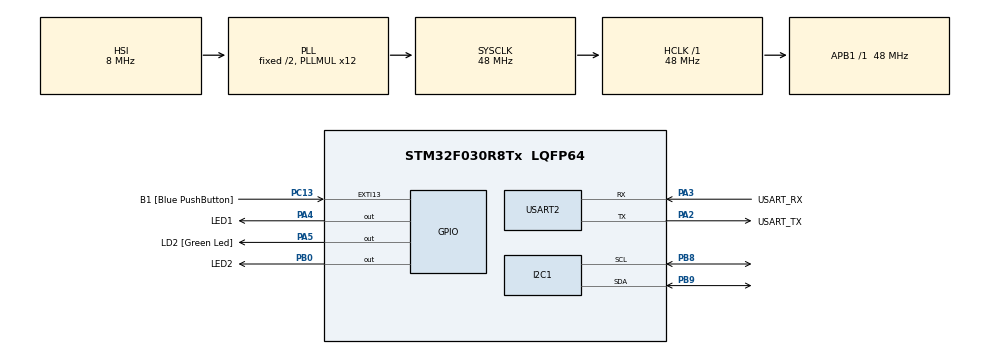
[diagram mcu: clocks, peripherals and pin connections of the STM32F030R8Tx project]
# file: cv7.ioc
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FREERTOS.Queues01=xVisualQueue,16,uint16_t,0,Dynamic,NULL,NULL
FREERTOS.Tasks01=defaultTask,0,128,StartDefaultTask,Default,NULL,Dynamic,NULL,NULL;VisualTask,-3,128,StartVisualTask,Default,NULL,Dynamic,NULL,NULL;AcceleroTask,-3,128,StartAcceleroTask,Default,NULL,Dynamic,NULL,NULL
FREERTOS.configUSE_NEWLIB_REENTRANT=1
Mcu.Family=STM32F0
Mcu.Name=STM32F030R8Tx
Mcu.Package=LQFP64
NVIC.TIM14_IRQn=true\:3\:0\:false\:false\:true\:false\:false\:true
NVIC.TimeBase=TIM14_IRQn
NVIC.TimeBaseIP=TIM14
PA13.GPIO_Label=TMS
PA13.Mode=Serial_Wire
PA13.Signal=SYS_SWDIO
PA14.GPIO_Label=TCK
PA14.Mode=Serial_Wire
PA14.Signal=SYS_SWCLK
PA2.GPIO_Label=USART_TX
PA2.GPIO_Mode=GPIO_MODE_AF_PP
PA2.GPIO_PuPd=GPIO_NOPULL
PA2.GPIO_Speed=GPIO_SPEED_FREQ_LOW
PA2.Mode=Asynchronous
PA2.Signal=USART2_TX
PA3.GPIO_Label=USART_RX
PA3.GPIO_Mode=GPIO_MODE_AF_PP
PA3.GPIO_PuPd=GPIO_NOPULL
PA3.GPIO_Speed=GPIO_SPEED_FREQ_LOW
PA3.Mode=Asynchronous
PA3.Signal=USART2_RX
PA4.GPIO_Label=LED1
PA4.GPIO_ModeDefaultOutputPP=GPIO_MODE_OUTPUT_PP
PA4.Signal=GPIO_Output
PA5.GPIO_Label=LD2 [Green Led]
PA5.GPIO_Mode=GPIO_MODE_OUTPUT_PP
PA5.GPIO_PuPd=GPIO_NOPULL
PA5.GPIO_Speed=GPIO_SPEED_FREQ_LOW
PA5.Signal=GPIO_Output
PB0.GPIO_Label=LED2
PB0.GPIO_ModeDefaultOutputPP=GPIO_MODE_OUTPUT_PP
PB0.Signal=GPIO_Output
PB8.Mode=I2C
PB8.Signal=I2C1_SCL
PB9.Mode=I2C
PB9.Signal=I2C1_SDA
PC13.GPIO_Label=B1 [Blue PushButton]
PC13.GPIO_ModeDefaultEXTI=GPIO_MODE_IT_FALLING
PC13.Signal=GPXTI13
PC14-OSC32_IN.Mode=LSE-External-Oscillator
PC14-OSC32_IN.Signal=RCC_OSC32_IN
PC15-OSC32_OUT.Mode=LSE-External-Oscillator
PC15-OSC32_OUT.Signal=RCC_OSC32_OUT
PF0-OSC_IN.Mode=HSE-External-Clock-Source
PF0-OSC_IN.Signal=RCC_OSC_IN
PF1-OSC_OUT.Signal=RCC_OSC_OUT
ProjectManager.HeapSize=0x200
ProjectManager.StackSize=0x400
ProjectManager.TargetToolchain=STM32CubeIDE
RCC.AHBFreq_Value=48000000
RCC.APB1Freq_Value=48000000
RCC.APB1TimFreq_Value=48000000
RCC.HCLKFreq_Value=48000000
RCC.PLLMUL=RCC_PLL_MUL12
RCC.SYSCLKFreq_VALUE=48000000
RCC.SYSCLKSource=RCC_SYSCLKSOURCE_PLLCLK
USART2.VirtualMode-Asynchronous=VM_ASYNC
VP_FREERTOS_VS_CMSIS_V1.Mode=CMSIS_V1
VP_SYS_VS_tim14.Mode=TIM14
board=NUCLEO-F030R8

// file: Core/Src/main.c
/* USER CODE BEGIN Header */
/**
  ******************************************************************************
  * @file           : main.c
  * @brief          : Main program body
  ******************************************************************************
  * @attention
  *
  * <h2><center>&copy; Copyright (c) 2021 STMicroelectronics.
  * All rights reserved.</center></h2>
  *
  * This software component is licensed by ST under BSD 3-Clause license,
  * the "License"; You may not use this file except in compliance with the
  * License. You may obtain a copy of the License at:
  *                        opensource.org/licenses/BSD-3-Clause
  *
  ******************************************************************************
  */
/* USER CODE END Header */
#include "main.h"
#include "cmsis_os.h"

/* USER CODE BEGIN Includes */

#include "lis2dw12_reg.h"
#include <stdio.h>

/* USER CODE END Includes */

I2C_HandleTypeDef hi2c1;

UART_HandleTypeDef huart2;

osThreadId defaultTaskHandle;
osThreadId VisualTaskHandle;
osThreadId AcceleroTaskHandle;
osMessageQId xVisualQueueHandle;

void SystemClock_Config(void);
static void MX_GPIO_Init(void);
static void MX_USART2_UART_Init(void);
static void MX_I2C1_Init(void);
void StartDefaultTask(void const * argument);
void StartVisualTask(void const * argument);
void StartAcceleroTask(void const * argument);

/* USER CODE BEGIN PFP */
static int32_t platform_write(void *handle, uint8_t reg, const uint8_t *bufp, uint16_t len);
static int32_t platform_read(void *handle, uint8_t reg, uint8_t *bufp, uint16_t len);
static stmdev_ctx_t lis2dw12 = {
 .write_reg = platform_write,
 .read_reg = platform_read,
 .handle = &hi2c1,
};

static int32_t platform_write(void *handle, uint8_t reg, const uint8_t *bufp, uint16_t len)
{
 HAL_I2C_Mem_Write(handle, LIS2DW12_I2C_ADD_H, reg, I2C_MEMADD_SIZE_8BIT, (uint8_t *)bufp, len, 1000);
 return 0;
}

static int32_t platform_read(void *handle, uint8_t reg, uint8_t *bufp, uint16_t len)
{
 HAL_I2C_Mem_Read(handle, LIS2DW12_I2C_ADD_H, reg, I2C_MEMADD_SIZE_8BIT, bufp, len, 1000);
 return 0;
}

int _write(int file, char const *buf, int n) // definice funkce write
{
 /* stdout redirection to UART2 */
 HAL_UART_Transmit(&huart2, (uint8_t*)(buf), n, HAL_MAX_DELAY);
 return n;
}

/* USER CODE END PFP */

int main(void)
{

  /* MCU Configuration--------------------------------------------------------*/

  /* Reset of all peripherals, Initializes the Flash interface and the Systick. */
  HAL_Init();

  /* Configure the system clock */
  SystemClock_Config();

  /* Initialize all configured peripherals */
  MX_GPIO_Init();
  MX_USART2_UART_Init();
  MX_I2C1_Init();

  /* Create the queue(s) */
  /* definition and creation of xVisualQueue */
  osMessageQDef(xVisualQueue, 16, uint16_t);
  xVisualQueueHandle = osMessageCreate(osMessageQ(xVisualQueue), NULL);

  /* Create the thread(s) */
  /* definition and creation of defaultTask */
  osThreadDef(defaultTask, StartDefaultTask, osPriorityNormal, 0, 128);
  defaultTaskHandle = osThreadCreate(osThread(defaultTask), NULL);

  /* definition and creation of VisualTask */
  osThreadDef(VisualTask, StartVisualTask, osPriorityIdle, 0, 128);
  VisualTaskHandle = osThreadCreate(osThread(VisualTask), NULL);

  /* definition and creation of AcceleroTask */
  osThreadDef(AcceleroTask, StartAcceleroTask, osPriorityIdle, 0, 128);
  AcceleroTaskHandle = osThreadCreate(osThread(AcceleroTask), NULL);

  /* Start scheduler */
  osKernelStart();

  /* We should never get here as control is now taken by the scheduler */
  /* Infinite loop */
  while (1)
  {

  }
}

void SystemClock_Config(void)
{
  RCC_OscInitTypeDef RCC_OscInitStruct = {0};
  RCC_ClkInitTypeDef RCC_ClkInitStruct = {0};
  RCC_PeriphCLKInitTypeDef PeriphClkInit = {0};

  /** Initializes the RCC Oscillators according to the specified parameters
  * in the RCC_OscInitTypeDef structure.
  */
  RCC_OscInitStruct.OscillatorType = RCC_OSCILLATORTYPE_HSI;
  RCC_OscInitStruct.HSIState = RCC_HSI_ON;
  RCC_OscInitStruct.HSICalibrationValue = RCC_HSICALIBRATION_DEFAULT;
  RCC_OscInitStruct.PLL.PLLState = RCC_PLL_ON;
  RCC_OscInitStruct.PLL.PLLSource = RCC_PLLSOURCE_HSI;
  RCC_OscInitStruct.PLL.PLLMUL = RCC_PLL_MUL12;
  RCC_OscInitStruct.PLL.PREDIV = RCC_PREDIV_DIV1;
  if (HAL_RCC_OscConfig(&RCC_OscInitStruct) != HAL_OK)
  {
    Error_Handler();
  }
  /** Initializes the CPU, AHB and APB buses clocks
  */
  RCC_ClkInitStruct.ClockType = RCC_CLOCKTYPE_HCLK|RCC_CLOCKTYPE_SYSCLK
                              |RCC_CLOCKTYPE_PCLK1;
  RCC_ClkInitStruct.SYSCLKSource = RCC_SYSCLKSOURCE_PLLCLK;
  RCC_ClkInitStruct.AHBCLKDivider = RCC_SYSCLK_DIV1;
  RCC_ClkInitStruct.APB1CLKDivider = RCC_HCLK_DIV1;

  if (HAL_RCC_ClockConfig(&RCC_ClkInitStruct, FLASH_LATENCY_1) != HAL_OK)
  {
    Error_Handler();
  }
  PeriphClkInit.PeriphClockSelection = RCC_PERIPHCLK_I2C1;
  PeriphClkInit.I2c1ClockSelection = RCC_I2C1CLKSOURCE_HSI;
  if (HAL_RCCEx_PeriphCLKConfig(&PeriphClkInit) != HAL_OK)
  {
    Error_Handler();
  }
}

static void MX_I2C1_Init(void)
{

  hi2c1.Instance = I2C1;
  hi2c1.Init.Timing = 0x2000090E;
  hi2c1.Init.OwnAddress1 = 0;
  hi2c1.Init.AddressingMode = I2C_ADDRESSINGMODE_7BIT;
  hi2c1.Init.DualAddressMode = I2C_DUALADDRESS_DISABLE;
  hi2c1.Init.OwnAddress2 = 0;
  hi2c1.Init.OwnAddress2Masks = I2C_OA2_NOMASK;
  hi2c1.Init.GeneralCallMode = I2C_GENERALCALL_DISABLE;
  hi2c1.Init.NoStretchMode = I2C_NOSTRETCH_DISABLE;
  if (HAL_I2C_Init(&hi2c1) != HAL_OK)
  {
    Error_Handler();
  }
  /** Configure Analogue filter
  */
  if (HAL_I2CEx_ConfigAnalogFilter(&hi2c1, I2C_ANALOGFILTER_ENABLE) != HAL_OK)
  {
    Error_Handler();
  }
  /** Configure Digital filter
  */
  if (HAL_I2CEx_ConfigDigitalFilter(&hi2c1, 0) != HAL_OK)
  {
    Error_Handler();
  }

}

static void MX_USART2_UART_Init(void)
{

  huart2.Instance = USART2;
  huart2.Init.BaudRate = 38400;
  huart2.Init.WordLength = UART_WORDLENGTH_8B;
  huart2.Init.StopBits = UART_STOPBITS_1;
  huart2.Init.Parity = UART_PARITY_NONE;
  huart2.Init.Mode = UART_MODE_TX_RX;
  huart2.Init.HwFlowCtl = UART_HWCONTROL_NONE;
  huart2.Init.OverSampling = UART_OVERSAMPLING_16;
  huart2.Init.OneBitSampling = UART_ONE_BIT_SAMPLE_DISABLE;
  huart2.AdvancedInit.AdvFeatureInit = UART_ADVFEATURE_NO_INIT;
  if (HAL_UART_Init(&huart2) != HAL_OK)
  {
    Error_Handler();
  }

}

static void MX_GPIO_Init(void)
{
  GPIO_InitTypeDef GPIO_InitStruct = {0};

  /* GPIO Ports Clock Enable */
  __HAL_RCC_GPIOC_CLK_ENABLE();
  __HAL_RCC_GPIOF_CLK_ENABLE();
  __HAL_RCC_GPIOA_CLK_ENABLE();
  __HAL_RCC_GPIOB_CLK_ENABLE();

  /*Configure GPIO pin Output Level */
  HAL_GPIO_WritePin(GPIOA, LED1_Pin|LD2_Pin, GPIO_PIN_RESET);

  /*Configure GPIO pin Output Level */
  HAL_GPIO_WritePin(LED2_GPIO_Port, LED2_Pin, GPIO_PIN_RESET);

  /*Configure GPIO pin : B1_Pin */
  GPIO_InitStruct.Pin = B1_Pin;
  GPIO_InitStruct.Mode = GPIO_MODE_IT_FALLING;
  GPIO_InitStruct.Pull = GPIO_NOPULL;
  HAL_GPIO_Init(B1_GPIO_Port, &GPIO_InitStruct);

  /*Configure GPIO pins : LED1_Pin LD2_Pin */
  GPIO_InitStruct.Pin = LED1_Pin|LD2_Pin;
  GPIO_InitStruct.Mode = GPIO_MODE_OUTPUT_PP;
  GPIO_InitStruct.Pull = GPIO_NOPULL;
  GPIO_InitStruct.Speed = GPIO_SPEED_FREQ_LOW;
  HAL_GPIO_Init(GPIOA, &GPIO_InitStruct);

  /*Configure GPIO pin : LED2_Pin */
  GPIO_InitStruct.Pin = LED2_Pin;
  GPIO_InitStruct.Mode = GPIO_MODE_OUTPUT_PP;
  GPIO_InitStruct.Pull = GPIO_NOPULL;
  GPIO_InitStruct.Speed = GPIO_SPEED_FREQ_LOW;
  HAL_GPIO_Init(LED2_GPIO_Port, &GPIO_InitStruct);

}

void StartDefaultTask(void const * argument)
{
  for(;;)
  {
    osDelay(1);
  }
}

void StartVisualTask(void const * argument)
{
  /* USER CODE BEGIN StartVisualTask */

  int16_t msg;

  /* Infinite loop */
  for(;;)
  {
    if (xQueueReceive(xVisualQueueHandle, &msg, portMAX_DELAY))
    {
    	if(msg < -1000)
    	{
    		HAL_GPIO_WritePin(LED2_GPIO_Port, LED2_Pin, GPIO_PIN_RESET); //zhasnuti ledky 2
    		HAL_GPIO_WritePin(LED1_GPIO_Port, LED1_Pin, GPIO_PIN_SET); // rozsviceni ledky 1
    	}
    	else if (msg > 1000)
    	{
    		HAL_GPIO_WritePin(LED1_GPIO_Port, LED1_Pin, GPIO_PIN_RESET);
    		HAL_GPIO_WritePin(LED2_GPIO_Port, LED2_Pin, GPIO_PIN_SET);
    	}
    	else
    	{
    		HAL_GPIO_WritePin(LED1_GPIO_Port, LED1_Pin, GPIO_PIN_RESET);
    		HAL_GPIO_WritePin(LED2_GPIO_Port, LED2_Pin, GPIO_PIN_RESET);
    	}

    }

  }
  /* USER CODE END StartVisualTask */
}

void StartAcceleroTask(void const * argument)
{
  /* USER CODE BEGIN StartAcceleroTask */

	int16_t msg;
	static uint32_t last;

	// Check device ID
	uint8_t whoamI = 0;
	lis2dw12_device_id_get(&lis2dw12, &whoamI);
	printf("LIS2DW12_ID %s\n", (whoamI == LIS2DW12_ID) ? "OK" : "FAIL");

	// inicializace akcelerometru

	lis2dw12_full_scale_set(&lis2dw12, LIS2DW12_2g);
	lis2dw12_power_mode_set(&lis2dw12, LIS2DW12_CONT_LOW_PWR_LOW_NOISE_2);
	lis2dw12_block_data_update_set(&lis2dw12, PROPERTY_ENABLE);
	lis2dw12_fifo_mode_set(&lis2dw12, LIS2DW12_STREAM_MODE); // enable continuous FIFO
	lis2dw12_data_rate_set(&lis2dw12, LIS2DW12_XL_ODR_25Hz); // enable part from power-down

  /* Infinite loop */
  for(;;)
  {
	  /* overeni funkconosti odesilani zpravy a cteni
	msg = 0;
	xQueueSend(xVisualQueueHandle, &msg, 0);
	osDelay(300);

	msg = -5000;
	xQueueSend(xVisualQueueHandle, &msg, 0);
	osDelay(300);

	msg = 0;
	xQueueSend(xVisualQueueHandle, &msg, 0);
	osDelay(300);

	msg = 5000;
	xQueueSend(xVisualQueueHandle, &msg, 0);
	osDelay(300);
	*/

	uint8_t samples;
	int16_t raw_acceleration[3];
	lis2dw12_fifo_data_level_get(&lis2dw12, &samples);

	for (uint8_t i = 0; i < samples; i++)
	{
	 // Read acceleration data
	  lis2dw12_acceleration_raw_get(&lis2dw12, raw_acceleration);
	  if(HAL_GetTick()-last > 1000 ) // zobrazeni na termite (pres UART) jednou za sekundu
	  {
		  printf("X=%d Y=%d Z=%d\n", raw_acceleration[0], raw_acceleration[1], raw_acceleration[2]);

		  last=HAL_GetTick();
	  }

	}

	// odeslani dat k vizualizaci (ledky) vzorkovani 50 ms
	msg = raw_acceleration[0];
	xQueueSend(xVisualQueueHandle, &msg, 0);
	osDelay(50);

  }
  /* USER CODE END StartAcceleroTask */
}

void HAL_TIM_PeriodElapsedCallback(TIM_HandleTypeDef *htim)
{
  if (htim->Instance == TIM14) {
    HAL_IncTick();
  }
}

void Error_Handler(void)
{
  __disable_irq();
  while (1)
  {
  }
}

/************************ (C) COPYRIGHT STMicroelectronics *****END OF FILE****/
